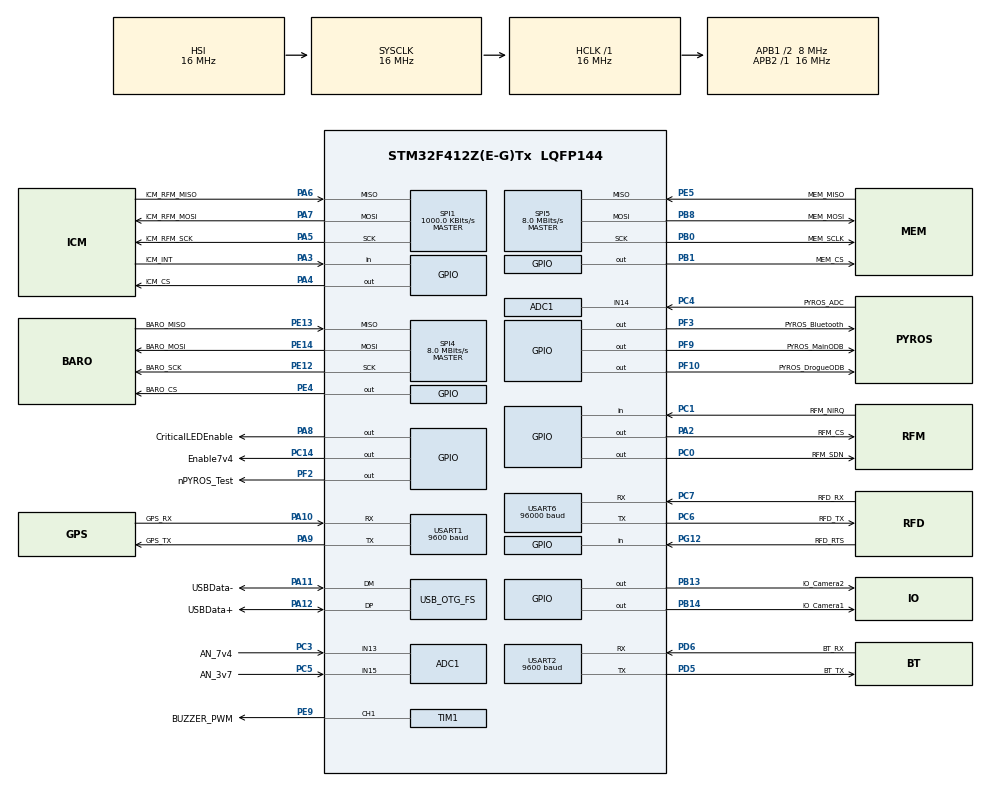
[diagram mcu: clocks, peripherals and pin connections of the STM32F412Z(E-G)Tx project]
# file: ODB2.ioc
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ADC1.Channel-1\#ChannelRegularConversion=ADC_CHANNEL_15
ADC1.NbrOfConversionFlag=1
ADC1.Rank-1\#ChannelRegularConversion=1
ADC1.SamplingTime-1\#ChannelRegularConversion=ADC_SAMPLETIME_3CYCLES
ADC1.master=1
Mcu.Family=STM32F4
Mcu.Name=STM32F412Z(E-G)Tx
Mcu.Package=LQFP144
NVIC.OTG_FS_IRQn=true\:0\:0\:false\:false\:true\:false\:true\:true
NVIC.PriorityGroup=NVIC_PRIORITYGROUP_4
NVIC.USART1_IRQn=true\:0\:0\:false\:false\:true\:true\:true\:true
PA10.GPIO_Label=GPS_RX
PA10.GPIO_Speed=GPIO_SPEED_FREQ_HIGH
PA10.Mode=Asynchronous
PA10.Signal=USART1_RX
PA11.GPIO_Label=USBData-
PA11.Mode=Device_Only
PA11.Signal=USB_OTG_FS_DM
PA12.GPIO_Label=USBData+
PA12.Mode=Device_Only
PA12.Signal=USB_OTG_FS_DP
PA13.GPIO_Label=SYS_SWDIO
PA13.Mode=Trace_Asynchronous_SW
PA13.Signal=SYS_JTMS-SWDIO
PA14.GPIO_Label=SYS_SWCLK
PA14.Mode=Trace_Asynchronous_SW
PA14.Signal=SYS_JTCK-SWCLK
PA2.GPIO_Label=RFM_CS
PA2.PinState=GPIO_PIN_RESET
PA2.Signal=GPIO_Output
PA3.GPIO_Label=ICM_INT
PA3.Signal=GPIO_Input
PA4.GPIO_Label=ICM_CS
PA4.PinState=GPIO_PIN_SET
PA4.Signal=GPIO_Output
PA5.GPIO_Label=ICM_RFM_SCK
PA5.GPIO_Speed=GPIO_SPEED_FREQ_HIGH
PA5.Mode=Full_Duplex_Master
PA5.Signal=SPI1_SCK
PA6.GPIO_Label=ICM_RFM_MISO
PA6.GPIO_PuPd=GPIO_PULLDOWN
PA6.GPIO_Speed=GPIO_SPEED_FREQ_HIGH
PA6.Mode=Full_Duplex_Master
PA6.Signal=SPI1_MISO
PA7.GPIO_Label=ICM_RFM_MOSI
PA7.GPIO_Speed=GPIO_SPEED_FREQ_HIGH
PA7.Mode=Full_Duplex_Master
PA7.Signal=SPI1_MOSI
PA8.GPIO_Label=CriticalLEDEnable
PA8.GPIO_Speed=GPIO_SPEED_FREQ_HIGH
PA8.PinState=GPIO_PIN_RESET
PA8.Signal=GPIO_Output
PA9.GPIO_Label=GPS_TX
PA9.GPIO_Speed=GPIO_SPEED_FREQ_HIGH
PA9.Mode=Asynchronous
PA9.Signal=USART1_TX
PB0.GPIO_Label=MEM_SCLK
PB0.GPIO_Speed=GPIO_SPEED_FREQ_HIGH
PB0.Mode=Full_Duplex_Master
PB0.Signal=SPI5_SCK
PB1.GPIO_Label=MEM_CS
PB1.PinState=GPIO_PIN_SET
PB1.Signal=GPIO_Output
PB13.GPIO_Label=IO_Camera2
PB13.Signal=GPIO_Output
PB14.GPIO_Label=IO_Camera1
PB14.Signal=GPIO_Output
PB3.GPIO_Label=SYS_SWO
PB3.Mode=Trace_Asynchronous_SW
PB3.Signal=SYS_JTDO-SWO
PB8.GPIO_Label=MEM_MOSI
PB8.GPIO_Speed=GPIO_SPEED_FREQ_HIGH
PB8.Mode=Full_Duplex_Master
PB8.Signal=SPI5_MOSI
PC0.GPIO_Label=RFM_SDN
PC0.Signal=GPIO_Output
PC1.GPIO_Label=RFM_NIRQ
PC1.Signal=GPIO_Input
PC14-OSC32_IN.GPIO_Label=Enable7v4
PC14-OSC32_IN.Signal=GPIO_Output
PC3.GPIO_Label=AN_7v4
PC3.Signal=SharedAnalog_PC3
PC4.GPIO_Label=PYROS_ADC
PC4.Signal=SharedAnalog_PC4
PC5.GPIO_Label=AN_3v7
PC5.Signal=SharedAnalog_PC5
PC6.GPIO_Label=RFD_TX
PC6.GPIO_Speed=GPIO_SPEED_FREQ_HIGH
PC6.Mode=Asynchronous
PC6.Signal=USART6_TX
PC7.GPIO_Label=RFD_RX
PC7.GPIO_Speed=GPIO_SPEED_FREQ_HIGH
PC7.Mode=Asynchronous
PC7.Signal=USART6_RX
PD5.GPIO_Label=BT_TX
PD5.GPIO_Speed=GPIO_SPEED_FREQ_HIGH
PD5.Mode=Asynchronous
PD5.Signal=USART2_TX
PD6.GPIO_Label=BT_RX
PD6.GPIO_Speed=GPIO_SPEED_FREQ_HIGH
PD6.Mode=Asynchronous
PD6.Signal=USART2_RX
PE12.GPIO_Label=BARO_SCK
PE12.GPIO_Speed=GPIO_SPEED_FREQ_HIGH
PE12.Mode=Full_Duplex_Master
PE12.Signal=SPI4_SCK
PE13.GPIO_Label=BARO_MISO
PE13.GPIO_PuPd=GPIO_NOPULL
PE13.GPIO_Speed=GPIO_SPEED_FREQ_HIGH
PE13.Mode=Full_Duplex_Master
PE13.Signal=SPI4_MISO
PE14.GPIO_Label=BARO_MOSI
PE14.GPIO_Speed=GPIO_SPEED_FREQ_HIGH
PE14.Mode=Full_Duplex_Master
PE14.Signal=SPI4_MOSI
PE4.GPIO_Label=BARO_CS
PE4.PinState=GPIO_PIN_SET
PE4.Signal=GPIO_Output
PE5.GPIO_Label=MEM_MISO
PE5.GPIO_PuPd=GPIO_PULLDOWN
PE5.GPIO_Speed=GPIO_SPEED_FREQ_HIGH
PE5.Mode=Full_Duplex_Master
PE5.Signal=SPI5_MISO
PE9.GPIO_Label=BUZZER_PWM
PE9.Signal=S_TIM1_CH1
PF10.GPIO_Label=PYROS_DrogueODB
PF10.GPIO_Speed=GPIO_SPEED_FREQ_HIGH
PF10.Signal=GPIO_Output
PF2.GPIO_Label=nPYROS_Test
PF2.GPIO_Speed=GPIO_SPEED_FREQ_HIGH
PF2.PinState=GPIO_PIN_SET
PF2.Signal=GPIO_Output
PF3.GPIO_Label=PYROS_Bluetooth
PF3.GPIO_Speed=GPIO_SPEED_FREQ_HIGH
PF3.Signal=GPIO_Output
PF9.GPIO_Label=PYROS_MainODB
PF9.GPIO_Speed=GPIO_SPEED_FREQ_HIGH
PF9.Signal=GPIO_Output
PG12.GPIO_Label=RFD_RTS
PG12.Signal=GPIO_Input
PH0\ -\ OSC_IN.Mode=HSE-External-Oscillator
PH0\ -\ OSC_IN.Signal=RCC_OSC_IN
PH1\ -\ OSC_OUT.Mode=HSE-External-Oscillator
PH1\ -\ OSC_OUT.Signal=RCC_OSC_OUT
ProjectManager.HeapSize=0x200
ProjectManager.StackSize=0x400
ProjectManager.TargetToolchain=STM32CubeIDE
RCC.AHBFreq_Value=16000000
RCC.APB1CLKDivider=RCC_HCLK_DIV2
RCC.APB1Freq_Value=8000000
RCC.APB1TimFreq_Value=16000000
RCC.APB2Freq_Value=16000000
RCC.APB2TimFreq_Value=16000000
RCC.CortexFreq_Value=16000000
RCC.HCLKFreq_Value=16000000
RCC.HSE_VALUE=26000000
RCC.PLLM=13
RCC.PLLN=96
RCC.PLLQ=4
RCC.SYSCLKFreq_VALUE=16000000
RCC.USBFreq_Value=48000000
RCC.VCOOutputFreq_Value=192000000
SH.S_TIM1_CH1.0=TIM1_CH1,PWM Generation1 CH1
SH.SharedAnalog_PC3.0=GPIO_Analog
SH.SharedAnalog_PC3.1=ADC1_IN13,IN13
SH.SharedAnalog_PC4.0=GPIO_Analog
SH.SharedAnalog_PC4.1=ADC1_IN14,IN14
SH.SharedAnalog_PC5.0=GPIO_Analog
SH.SharedAnalog_PC5.1=ADC1_IN15,IN15
SPI1.BaudRatePrescaler=SPI_BAUDRATEPRESCALER_16
SPI1.CalculateBaudRate=1000.0 KBits/s
SPI1.Direction=SPI_DIRECTION_2LINES
SPI1.Mode=SPI_MODE_MASTER
SPI1.VirtualType=VM_MASTER
SPI4.BaudRatePrescaler=SPI_BAUDRATEPRESCALER_2
SPI4.CalculateBaudRate=8.0 MBits/s
SPI4.Direction=SPI_DIRECTION_2LINES
SPI4.Mode=SPI_MODE_MASTER
SPI4.VirtualType=VM_MASTER
SPI5.BaudRatePrescaler=SPI_BAUDRATEPRESCALER_2
SPI5.CalculateBaudRate=8.0 MBits/s
SPI5.Direction=SPI_DIRECTION_2LINES
SPI5.Mode=SPI_MODE_MASTER
SPI5.VirtualType=VM_MASTER
TIM1.Channel-PWM\ Generation1\ CH1=TIM_CHANNEL_1
TIM1.Prescaler=127
USART1.BaudRate=9600
USART1.VirtualMode=VM_ASYNC
USART2.BaudRate=9600
USART2.VirtualMode=VM_ASYNC
USART6.BaudRate=96000
USART6.VirtualMode=VM_ASYNC
USB_DEVICE.CLASS_NAME_FS=CDC
USB_DEVICE.VirtualMode=Cdc
USB_DEVICE.VirtualModeFS=Cdc_FS
USB_OTG_FS.VirtualMode=Device_Only
VP_TIM1_VS_ClockSourceINT.Mode=Internal
VP_USB_DEVICE_VS_USB_DEVICE_CDC_FS.Mode=CDC_FS
board=custom

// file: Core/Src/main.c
/* USER CODE BEGIN Header */
/**
  ******************************************************************************
  * @file           : main.c
  * @brief          : Main program body
  ******************************************************************************
  * @attention
  *
  * Copyright (c) 2025 STMicroelectronics.
  * All rights reserved.
  *
  * This software is licensed under terms that can be found in the LICENSE file
  * in the root directory of this software component.
  * If no LICENSE file comes with this software, it is provided AS-IS.
  *
  ******************************************************************************
  */
/* USER CODE END Header */
#include "main.h"
#include "usb_device.h"

/* USER CODE BEGIN Includes */
#include "GAUL_Drivers/util.h"
#include "GAUL_Drivers/Low_Level/GPIO_driver.h"
#include "GAUL_Drivers/Low_Level/SPI_driver.h"
#include "GAUL_Drivers/Low_Level/USART_driver.h"
#include "GAUL_Drivers/Components/MS5803.h"
#include "GAUL_Drivers/Components/ICM20948.h"
#include "GAUL_Drivers/Components/L76LM33.h"
#include "GAUL_Drivers/Components/RFM22B.h"
/* USER CODE END Includes */

ADC_HandleTypeDef hadc1;

TIM_HandleTypeDef htim1;

UART_HandleTypeDef huart1;
UART_HandleTypeDef huart2;
UART_HandleTypeDef huart6;

/* USER CODE BEGIN PV */
RunTimer run_timer;
MS5803 ms5803;
ICM20948 icm20948;
GPS_Data gps_data;
L76LM33 l76lm33;
RFM22B rfm22b;
/* USER CODE END PV */

void SystemClock_Config(void);
static void MX_GPIO_Init(void);
static void MX_ADC1_Init(void);
static void MX_SPI1_Init(void);
static void MX_SPI4_Init(void);
static void MX_SPI5_Init(void);
static void MX_USART1_UART_Init(void);
static void MX_USART2_UART_Init(void);
static void MX_USART6_UART_Init(void);
static void MX_TIM1_Init(void);

int main(void)
{

  /* MCU Configuration--------------------------------------------------------*/

  /* Reset of all peripherals, Initializes the Flash interface and the Systick. */
  HAL_Init();

  /* Configure the system clock */
  SystemClock_Config();

  /* Initialize all configured peripherals */
  MX_GPIO_Init();
  MX_ADC1_Init();
  MX_USB_DEVICE_Init();
  MX_SPI1_Init();
  MX_SPI4_Init();
  MX_SPI5_Init();
  MX_USART1_UART_Init();
  MX_USART2_UART_Init();
  MX_USART6_UART_Init();
  MX_TIM1_Init();
  /* USER CODE BEGIN 2 */
  RunTimerInit(&run_timer);
  /*
  rfm22b.SPIx = SPI1;
  rfm22b.cs_port = GPIOA;
  rfm22b.cs_pin = 2;
  rfm22b.int_port = GPIOC;
  rfm22b.int_pin = 1;
  rfm22b.snd_port = GPIOC;
  rfm22b.snd_pin = 0;
  SPI_InitPeriph(SPI1, SPI_BAUDRATE_4);
  RFM22B_Init(SPI1, &rfm22b, &rfm22_confs, 0);
  uint8_t dataToSend[8] = {0x00};
  */
  /* USER CODE END 2 */

  /* Infinite loop */
  /* USER CODE BEGIN WHILE */
  while (1)
  {
	  GPIO_WritePin(GPIOA, 2, LOW);
	  HAL_Delay(1000);
	  GPIO_WritePin(GPIOA, 2, HIGH);
	  HAL_Delay(1000);
    /* USER CODE END WHILE */

  }
}

void SystemClock_Config(void)
{
  RCC_OscInitTypeDef RCC_OscInitStruct = {0};
  RCC_ClkInitTypeDef RCC_ClkInitStruct = {0};

  /** Configure the main internal regulator output voltage
  */
  __HAL_RCC_PWR_CLK_ENABLE();
  __HAL_PWR_VOLTAGESCALING_CONFIG(PWR_REGULATOR_VOLTAGE_SCALE1);

  /** Initializes the RCC Oscillators according to the specified parameters
  * in the RCC_OscInitTypeDef structure.
  */
  RCC_OscInitStruct.OscillatorType = RCC_OSCILLATORTYPE_HSI|RCC_OSCILLATORTYPE_HSE;
  RCC_OscInitStruct.HSEState = RCC_HSE_ON;
  RCC_OscInitStruct.HSIState = RCC_HSI_ON;
  RCC_OscInitStruct.HSICalibrationValue = RCC_HSICALIBRATION_DEFAULT;
  RCC_OscInitStruct.PLL.PLLState = RCC_PLL_ON;
  RCC_OscInitStruct.PLL.PLLSource = RCC_PLLSOURCE_HSE;
  RCC_OscInitStruct.PLL.PLLM = 13;
  RCC_OscInitStruct.PLL.PLLN = 96;
  RCC_OscInitStruct.PLL.PLLP = RCC_PLLP_DIV2;
  RCC_OscInitStruct.PLL.PLLQ = 4;
  RCC_OscInitStruct.PLL.PLLR = 2;
  if (HAL_RCC_OscConfig(&RCC_OscInitStruct) != HAL_OK)
  {
    Error_Handler();
  }

  /** Initializes the CPU, AHB and APB buses clocks
  */
  RCC_ClkInitStruct.ClockType = RCC_CLOCKTYPE_HCLK|RCC_CLOCKTYPE_SYSCLK
                              |RCC_CLOCKTYPE_PCLK1|RCC_CLOCKTYPE_PCLK2;
  RCC_ClkInitStruct.SYSCLKSource = RCC_SYSCLKSOURCE_HSI;
  RCC_ClkInitStruct.AHBCLKDivider = RCC_SYSCLK_DIV1;
  RCC_ClkInitStruct.APB1CLKDivider = RCC_HCLK_DIV2;
  RCC_ClkInitStruct.APB2CLKDivider = RCC_HCLK_DIV1;

  if (HAL_RCC_ClockConfig(&RCC_ClkInitStruct, FLASH_LATENCY_0) != HAL_OK)
  {
    Error_Handler();
  }
}

static void MX_ADC1_Init(void)
{

  ADC_ChannelConfTypeDef sConfig = {0};

  /** Configure the global features of the ADC (Clock, Resolution, Data Alignment and number of conversion)
  */
  hadc1.Instance = ADC1;
  hadc1.Init.ClockPrescaler = ADC_CLOCK_SYNC_PCLK_DIV2;
  hadc1.Init.Resolution = ADC_RESOLUTION_12B;
  hadc1.Init.ScanConvMode = DISABLE;
  hadc1.Init.ContinuousConvMode = DISABLE;
  hadc1.Init.DiscontinuousConvMode = DISABLE;
  hadc1.Init.ExternalTrigConvEdge = ADC_EXTERNALTRIGCONVEDGE_NONE;
  hadc1.Init.ExternalTrigConv = ADC_SOFTWARE_START;
  hadc1.Init.DataAlign = ADC_DATAALIGN_RIGHT;
  hadc1.Init.NbrOfConversion = 1;
  hadc1.Init.DMAContinuousRequests = DISABLE;
  hadc1.Init.EOCSelection = ADC_EOC_SINGLE_CONV;
  if (HAL_ADC_Init(&hadc1) != HAL_OK)
  {
    Error_Handler();
  }

  /** Configure for the selected ADC regular channel its corresponding rank in the sequencer and its sample time.
  */
  sConfig.Channel = ADC_CHANNEL_15;
  sConfig.Rank = 1;
  sConfig.SamplingTime = ADC_SAMPLETIME_3CYCLES;
  if (HAL_ADC_ConfigChannel(&hadc1, &sConfig) != HAL_OK)
  {
    Error_Handler();
  }

}

static void MX_SPI1_Init(void)
{

  LL_SPI_InitTypeDef SPI_InitStruct = {0};

  LL_GPIO_InitTypeDef GPIO_InitStruct = {0};

  /* Peripheral clock enable */
  LL_APB2_GRP1_EnableClock(LL_APB2_GRP1_PERIPH_SPI1);

  LL_AHB1_GRP1_EnableClock(LL_AHB1_GRP1_PERIPH_GPIOA);
  /**SPI1 GPIO Configuration
  PA5   ------> SPI1_SCK
  PA6   ------> SPI1_MISO
  PA7   ------> SPI1_MOSI
  */
  GPIO_InitStruct.Pin = ICM_RFM_SCK_Pin|ICM_RFM_MOSI_Pin;
  GPIO_InitStruct.Mode = LL_GPIO_MODE_ALTERNATE;
  GPIO_InitStruct.Speed = LL_GPIO_SPEED_FREQ_HIGH;
  GPIO_InitStruct.OutputType = LL_GPIO_OUTPUT_PUSHPULL;
  GPIO_InitStruct.Pull = LL_GPIO_PULL_NO;
  GPIO_InitStruct.Alternate = LL_GPIO_AF_5;
  LL_GPIO_Init(GPIOA, &GPIO_InitStruct);

  GPIO_InitStruct.Pin = ICM_RFM_MISO_Pin;
  GPIO_InitStruct.Mode = LL_GPIO_MODE_ALTERNATE;
  GPIO_InitStruct.Speed = LL_GPIO_SPEED_FREQ_HIGH;
  GPIO_InitStruct.OutputType = LL_GPIO_OUTPUT_PUSHPULL;
  GPIO_InitStruct.Pull = LL_GPIO_PULL_UP;
  GPIO_InitStruct.Alternate = LL_GPIO_AF_5;
  LL_GPIO_Init(ICM_RFM_MISO_GPIO_Port, &GPIO_InitStruct);

  /* SPI1 parameter configuration*/
  SPI_InitStruct.TransferDirection = LL_SPI_FULL_DUPLEX;
  SPI_InitStruct.Mode = LL_SPI_MODE_MASTER;
  SPI_InitStruct.DataWidth = LL_SPI_DATAWIDTH_8BIT;
  SPI_InitStruct.ClockPolarity = LL_SPI_POLARITY_LOW;
  SPI_InitStruct.ClockPhase = LL_SPI_PHASE_1EDGE;
  SPI_InitStruct.NSS = LL_SPI_NSS_SOFT;
  SPI_InitStruct.BaudRate = LL_SPI_BAUDRATEPRESCALER_DIV16;
  SPI_InitStruct.BitOrder = LL_SPI_MSB_FIRST;
  SPI_InitStruct.CRCCalculation = LL_SPI_CRCCALCULATION_DISABLE;
  SPI_InitStruct.CRCPoly = 10;
  LL_SPI_Init(SPI1, &SPI_InitStruct);
  LL_SPI_SetStandard(SPI1, LL_SPI_PROTOCOL_MOTOROLA);

}

static void MX_SPI4_Init(void)
{

  LL_SPI_InitTypeDef SPI_InitStruct = {0};

  LL_GPIO_InitTypeDef GPIO_InitStruct = {0};

  /* Peripheral clock enable */
  LL_APB2_GRP1_EnableClock(LL_APB2_GRP1_PERIPH_SPI4);

  LL_AHB1_GRP1_EnableClock(LL_AHB1_GRP1_PERIPH_GPIOE);
  /**SPI4 GPIO Configuration
  PE12   ------> SPI4_SCK
  PE13   ------> SPI4_MISO
  PE14   ------> SPI4_MOSI
  */
  GPIO_InitStruct.Pin = BARO_SCK_Pin|BARO_MOSI_Pin;
  GPIO_InitStruct.Mode = LL_GPIO_MODE_ALTERNATE;
  GPIO_InitStruct.Speed = LL_GPIO_SPEED_FREQ_HIGH;
  GPIO_InitStruct.OutputType = LL_GPIO_OUTPUT_PUSHPULL;
  GPIO_InitStruct.Pull = LL_GPIO_PULL_NO;
  GPIO_InitStruct.Alternate = LL_GPIO_AF_5;
  LL_GPIO_Init(GPIOE, &GPIO_InitStruct);

  GPIO_InitStruct.Pin = BARO_MISO_Pin;
  GPIO_InitStruct.Mode = LL_GPIO_MODE_ALTERNATE;
  GPIO_InitStruct.Speed = LL_GPIO_SPEED_FREQ_HIGH;
  GPIO_InitStruct.OutputType = LL_GPIO_OUTPUT_PUSHPULL;
  GPIO_InitStruct.Pull = LL_GPIO_PULL_UP;
  GPIO_InitStruct.Alternate = LL_GPIO_AF_5;
  LL_GPIO_Init(BARO_MISO_GPIO_Port, &GPIO_InitStruct);

  /* SPI4 parameter configuration*/
  SPI_InitStruct.TransferDirection = LL_SPI_FULL_DUPLEX;
  SPI_InitStruct.Mode = LL_SPI_MODE_MASTER;
  SPI_InitStruct.DataWidth = LL_SPI_DATAWIDTH_8BIT;
  SPI_InitStruct.ClockPolarity = LL_SPI_POLARITY_LOW;
  SPI_InitStruct.ClockPhase = LL_SPI_PHASE_1EDGE;
  SPI_InitStruct.NSS = LL_SPI_NSS_SOFT;
  SPI_InitStruct.BaudRate = LL_SPI_BAUDRATEPRESCALER_DIV2;
  SPI_InitStruct.BitOrder = LL_SPI_MSB_FIRST;
  SPI_InitStruct.CRCCalculation = LL_SPI_CRCCALCULATION_DISABLE;
  SPI_InitStruct.CRCPoly = 10;
  LL_SPI_Init(SPI4, &SPI_InitStruct);
  LL_SPI_SetStandard(SPI4, LL_SPI_PROTOCOL_MOTOROLA);

}

static void MX_SPI5_Init(void)
{

  LL_SPI_InitTypeDef SPI_InitStruct = {0};

  LL_GPIO_InitTypeDef GPIO_InitStruct = {0};

  /* Peripheral clock enable */
  LL_APB2_GRP1_EnableClock(LL_APB2_GRP1_PERIPH_SPI5);

  LL_AHB1_GRP1_EnableClock(LL_AHB1_GRP1_PERIPH_GPIOE);
  LL_AHB1_GRP1_EnableClock(LL_AHB1_GRP1_PERIPH_GPIOB);
  /**SPI5 GPIO Configuration
  PE5   ------> SPI5_MISO
  PB0   ------> SPI5_SCK
  PB8   ------> SPI5_MOSI
  */
  GPIO_InitStruct.Pin = MEM_MISO_Pin;
  GPIO_InitStruct.Mode = LL_GPIO_MODE_ALTERNATE;
  GPIO_InitStruct.Speed = LL_GPIO_SPEED_FREQ_HIGH;
  GPIO_InitStruct.OutputType = LL_GPIO_OUTPUT_PUSHPULL;
  GPIO_InitStruct.Pull = LL_GPIO_PULL_UP;
  GPIO_InitStruct.Alternate = LL_GPIO_AF_6;
  LL_GPIO_Init(MEM_MISO_GPIO_Port, &GPIO_InitStruct);

  GPIO_InitStruct.Pin = MEM_SCLK_Pin|MEM_MOSI_Pin;
  GPIO_InitStruct.Mode = LL_GPIO_MODE_ALTERNATE;
  GPIO_InitStruct.Speed = LL_GPIO_SPEED_FREQ_HIGH;
  GPIO_InitStruct.OutputType = LL_GPIO_OUTPUT_PUSHPULL;
  GPIO_InitStruct.Pull = LL_GPIO_PULL_NO;
  GPIO_InitStruct.Alternate = LL_GPIO_AF_6;
  LL_GPIO_Init(GPIOB, &GPIO_InitStruct);

  /* SPI5 parameter configuration*/
  SPI_InitStruct.TransferDirection = LL_SPI_FULL_DUPLEX;
  SPI_InitStruct.Mode = LL_SPI_MODE_MASTER;
  SPI_InitStruct.DataWidth = LL_SPI_DATAWIDTH_8BIT;
  SPI_InitStruct.ClockPolarity = LL_SPI_POLARITY_LOW;
  SPI_InitStruct.ClockPhase = LL_SPI_PHASE_1EDGE;
  SPI_InitStruct.NSS = LL_SPI_NSS_SOFT;
  SPI_InitStruct.BaudRate = LL_SPI_BAUDRATEPRESCALER_DIV2;
  SPI_InitStruct.BitOrder = LL_SPI_MSB_FIRST;
  SPI_InitStruct.CRCCalculation = LL_SPI_CRCCALCULATION_DISABLE;
  SPI_InitStruct.CRCPoly = 10;
  LL_SPI_Init(SPI5, &SPI_InitStruct);
  LL_SPI_SetStandard(SPI5, LL_SPI_PROTOCOL_MOTOROLA);

}

static void MX_TIM1_Init(void)
{

  TIM_ClockConfigTypeDef sClockSourceConfig = {0};
  TIM_MasterConfigTypeDef sMasterConfig = {0};
  TIM_OC_InitTypeDef sConfigOC = {0};
  TIM_BreakDeadTimeConfigTypeDef sBreakDeadTimeConfig = {0};

  htim1.Instance = TIM1;
  htim1.Init.Prescaler = 127;
  htim1.Init.CounterMode = TIM_COUNTERMODE_UP;
  htim1.Init.Period = 65535;
  htim1.Init.ClockDivision = TIM_CLOCKDIVISION_DIV1;
  htim1.Init.RepetitionCounter = 0;
  htim1.Init.AutoReloadPreload = TIM_AUTORELOAD_PRELOAD_DISABLE;
  if (HAL_TIM_Base_Init(&htim1) != HAL_OK)
  {
    Error_Handler();
  }
  sClockSourceConfig.ClockSource = TIM_CLOCKSOURCE_INTERNAL;
  if (HAL_TIM_ConfigClockSource(&htim1, &sClockSourceConfig) != HAL_OK)
  {
    Error_Handler();
  }
  if (HAL_TIM_PWM_Init(&htim1) != HAL_OK)
  {
    Error_Handler();
  }
  sMasterConfig.MasterOutputTrigger = TIM_TRGO_RESET;
  sMasterConfig.MasterSlaveMode = TIM_MASTERSLAVEMODE_DISABLE;
  if (HAL_TIMEx_MasterConfigSynchronization(&htim1, &sMasterConfig) != HAL_OK)
  {
    Error_Handler();
  }
  sConfigOC.OCMode = TIM_OCMODE_PWM1;
  sConfigOC.Pulse = 0;
  sConfigOC.OCPolarity = TIM_OCPOLARITY_HIGH;
  sConfigOC.OCNPolarity = TIM_OCNPOLARITY_HIGH;
  sConfigOC.OCFastMode = TIM_OCFAST_DISABLE;
  sConfigOC.OCIdleState = TIM_OCIDLESTATE_RESET;
  sConfigOC.OCNIdleState = TIM_OCNIDLESTATE_RESET;
  if (HAL_TIM_PWM_ConfigChannel(&htim1, &sConfigOC, TIM_CHANNEL_1) != HAL_OK)
  {
    Error_Handler();
  }
  sBreakDeadTimeConfig.OffStateRunMode = TIM_OSSR_DISABLE;
  sBreakDeadTimeConfig.OffStateIDLEMode = TIM_OSSI_DISABLE;
  sBreakDeadTimeConfig.LockLevel = TIM_LOCKLEVEL_OFF;
  sBreakDeadTimeConfig.DeadTime = 0;
  sBreakDeadTimeConfig.BreakState = TIM_BREAK_DISABLE;
  sBreakDeadTimeConfig.BreakPolarity = TIM_BREAKPOLARITY_HIGH;
  sBreakDeadTimeConfig.AutomaticOutput = TIM_AUTOMATICOUTPUT_DISABLE;
  if (HAL_TIMEx_ConfigBreakDeadTime(&htim1, &sBreakDeadTimeConfig) != HAL_OK)
  {
    Error_Handler();
  }
  HAL_TIM_MspPostInit(&htim1);

}

static void MX_USART1_UART_Init(void)
{

  huart1.Instance = USART1;
  huart1.Init.BaudRate = 9600;
  huart1.Init.WordLength = UART_WORDLENGTH_8B;
  huart1.Init.StopBits = UART_STOPBITS_1;
  huart1.Init.Parity = UART_PARITY_NONE;
  huart1.Init.Mode = UART_MODE_TX_RX;
  huart1.Init.HwFlowCtl = UART_HWCONTROL_NONE;
  huart1.Init.OverSampling = UART_OVERSAMPLING_16;
  if (HAL_UART_Init(&huart1) != HAL_OK)
  {
    Error_Handler();
  }

}

static void MX_USART2_UART_Init(void)
{

  huart2.Instance = USART2;
  huart2.Init.BaudRate = 9600;
  huart2.Init.WordLength = UART_WORDLENGTH_8B;
  huart2.Init.StopBits = UART_STOPBITS_1;
  huart2.Init.Parity = UART_PARITY_NONE;
  huart2.Init.Mode = UART_MODE_TX_RX;
  huart2.Init.HwFlowCtl = UART_HWCONTROL_NONE;
  huart2.Init.OverSampling = UART_OVERSAMPLING_16;
  if (HAL_UART_Init(&huart2) != HAL_OK)
  {
    Error_Handler();
  }

}

static void MX_USART6_UART_Init(void)
{

  huart6.Instance = USART6;
  huart6.Init.BaudRate = 96000;
  huart6.Init.WordLength = UART_WORDLENGTH_8B;
  huart6.Init.StopBits = UART_STOPBITS_1;
  huart6.Init.Parity = UART_PARITY_NONE;
  huart6.Init.Mode = UART_MODE_TX_RX;
  huart6.Init.HwFlowCtl = UART_HWCONTROL_NONE;
  huart6.Init.OverSampling = UART_OVERSAMPLING_16;
  if (HAL_UART_Init(&huart6) != HAL_OK)
  {
    Error_Handler();
  }

}

static void MX_GPIO_Init(void)
{
  LL_GPIO_InitTypeDef GPIO_InitStruct = {0};

  /* GPIO Ports Clock Enable */
  LL_AHB1_GRP1_EnableClock(LL_AHB1_GRP1_PERIPH_GPIOE);
  LL_AHB1_GRP1_EnableClock(LL_AHB1_GRP1_PERIPH_GPIOC);
  LL_AHB1_GRP1_EnableClock(LL_AHB1_GRP1_PERIPH_GPIOF);
  LL_AHB1_GRP1_EnableClock(LL_AHB1_GRP1_PERIPH_GPIOH);
  LL_AHB1_GRP1_EnableClock(LL_AHB1_GRP1_PERIPH_GPIOA);
  LL_AHB1_GRP1_EnableClock(LL_AHB1_GRP1_PERIPH_GPIOB);
  LL_AHB1_GRP1_EnableClock(LL_AHB1_GRP1_PERIPH_GPIOD);
  LL_AHB1_GRP1_EnableClock(LL_AHB1_GRP1_PERIPH_GPIOG);

  /**/
  LL_GPIO_SetOutputPin(BARO_CS_GPIO_Port, BARO_CS_Pin);

  /**/
  LL_GPIO_SetOutputPin(nPYROS_Test_GPIO_Port, nPYROS_Test_Pin);

  /**/
  LL_GPIO_SetOutputPin(GPIOA, RFM_CS_Pin|ICM_CS_Pin);

  /**/
  LL_GPIO_SetOutputPin(MEM_CS_GPIO_Port, MEM_CS_Pin);

  /**/
  LL_GPIO_ResetOutputPin(GPIOC, Enable7v4_Pin|RFM_SDN_Pin);

  /**/
  LL_GPIO_ResetOutputPin(GPIOF, PYROS_Bluetooth_Pin|PYROS_MainODB_Pin|PYROS_DrogueODB_Pin);

  /**/
  LL_GPIO_ResetOutputPin(GPIOB, IO_Camera2_Pin|IO_Camera1_Pin);

  /**/
  LL_GPIO_ResetOutputPin(CriticalLEDEnable_GPIO_Port, CriticalLEDEnable_Pin);

  /**/
  GPIO_InitStruct.Pin = BARO_CS_Pin;
  GPIO_InitStruct.Mode = LL_GPIO_MODE_OUTPUT;
  GPIO_InitStruct.Speed = LL_GPIO_SPEED_FREQ_LOW;
  GPIO_InitStruct.OutputType = LL_GPIO_OUTPUT_PUSHPULL;
  GPIO_InitStruct.Pull = LL_GPIO_PULL_NO;
  LL_GPIO_Init(BARO_CS_GPIO_Port, &GPIO_InitStruct);

  /**/
  GPIO_InitStruct.Pin = Enable7v4_Pin|RFM_SDN_Pin;
  GPIO_InitStruct.Mode = LL_GPIO_MODE_OUTPUT;
  GPIO_InitStruct.Speed = LL_GPIO_SPEED_FREQ_LOW;
  GPIO_InitStruct.OutputType = LL_GPIO_OUTPUT_PUSHPULL;
  GPIO_InitStruct.Pull = LL_GPIO_PULL_NO;
  LL_GPIO_Init(GPIOC, &GPIO_InitStruct);

  /**/
  GPIO_InitStruct.Pin = nPYROS_Test_Pin|PYROS_Bluetooth_Pin|PYROS_MainODB_Pin|PYROS_DrogueODB_Pin;
  GPIO_InitStruct.Mode = LL_GPIO_MODE_OUTPUT;
  GPIO_InitStruct.Speed = LL_GPIO_SPEED_FREQ_HIGH;
  GPIO_InitStruct.OutputType = LL_GPIO_OUTPUT_PUSHPULL;
  GPIO_InitStruct.Pull = LL_GPIO_PULL_NO;
  LL_GPIO_Init(GPIOF, &GPIO_InitStruct);

  /**/
  GPIO_InitStruct.Pin = RFM_NIRQ_Pin;
  GPIO_InitStruct.Mode = LL_GPIO_MODE_INPUT;
  GPIO_InitStruct.Pull = LL_GPIO_PULL_NO;
  LL_GPIO_Init(RFM_NIRQ_GPIO_Port, &GPIO_InitStruct);

  /**/
  GPIO_InitStruct.Pin = RFM_CS_Pin|ICM_CS_Pin;
  GPIO_InitStruct.Mode = LL_GPIO_MODE_OUTPUT;
  GPIO_InitStruct.Speed = LL_GPIO_SPEED_FREQ_LOW;
  GPIO_InitStruct.OutputType = LL_GPIO_OUTPUT_PUSHPULL;
  GPIO_InitStruct.Pull = LL_GPIO_PULL_NO;
  LL_GPIO_Init(GPIOA, &GPIO_InitStruct);

  /**/
  GPIO_InitStruct.Pin = ICM_INT_Pin;
  GPIO_InitStruct.Mode = LL_GPIO_MODE_INPUT;
  GPIO_InitStruct.Pull = LL_GPIO_PULL_NO;
  LL_GPIO_Init(ICM_INT_GPIO_Port, &GPIO_InitStruct);

  /**/
  GPIO_InitStruct.Pin = MEM_CS_Pin|IO_Camera2_Pin|IO_Camera1_Pin;
  GPIO_InitStruct.Mode = LL_GPIO_MODE_OUTPUT;
  GPIO_InitStruct.Speed = LL_GPIO_SPEED_FREQ_LOW;
  GPIO_InitStruct.OutputType = LL_GPIO_OUTPUT_PUSHPULL;
  GPIO_InitStruct.Pull = LL_GPIO_PULL_NO;
  LL_GPIO_Init(GPIOB, &GPIO_InitStruct);

  /**/
  GPIO_InitStruct.Pin = CriticalLEDEnable_Pin;
  GPIO_InitStruct.Mode = LL_GPIO_MODE_OUTPUT;
  GPIO_InitStruct.Speed = LL_GPIO_SPEED_FREQ_HIGH;
  GPIO_InitStruct.OutputType = LL_GPIO_OUTPUT_PUSHPULL;
  GPIO_InitStruct.Pull = LL_GPIO_PULL_NO;
  LL_GPIO_Init(CriticalLEDEnable_GPIO_Port, &GPIO_InitStruct);

  /**/
  GPIO_InitStruct.Pin = RFD_RTS_Pin;
  GPIO_InitStruct.Mode = LL_GPIO_MODE_INPUT;
  GPIO_InitStruct.Pull = LL_GPIO_PULL_NO;
  LL_GPIO_Init(RFD_RTS_GPIO_Port, &GPIO_InitStruct);

}

/* USER CODE BEGIN 4 */
void HAL_UART_RxCpltCallback(UART_HandleTypeDef *huart) {
  L76LM33_RxCallback(huart, &l76lm33);
}
/* USER CODE END 4 */

void Error_Handler(void)
{
  __disable_irq();
  while (1)
  {
  }
}
